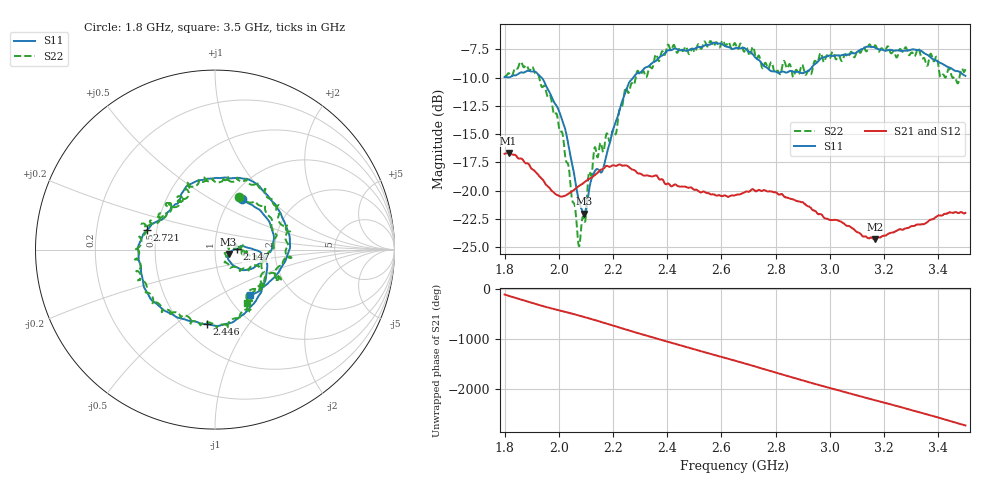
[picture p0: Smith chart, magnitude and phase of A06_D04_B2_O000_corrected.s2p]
! Created with skrf 1.9.0 (http://scikit-rf.org).
# Hz S RI R 50.0
!freq ReS11 ImS11 ReS21 ImS21 ReS12 ImS12 ReS22 ImS22
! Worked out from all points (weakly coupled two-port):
!   1601 points, 1.8 GHz to 3.5 GHz, reference 50 ohm
!   highest |S21| = -16.66 dB at 1.815 GHz (marker M1); lowest = -24.3 dB at 3.165 GHz (marker M2)
!   lowest |S11| = -22.0 dB at 2.093 GHz (marker M3), VSWR 1.17, Z = 58.1 - j2.76 ohm
!   |S11| at or under -10 dB: 1.937 GHz to 2.275 GHz (338 MHz wide, 16.1 % of centre)
!   |S22| runs from -24.9 to -6.7 dB; largest |S21 - S12| = 0.0024
!   S11 on the Smith chart (normalised r, x): 1.8 GHz: 1.12, +0.70; 2.147 GHz: 1.28, +0.01; 2.446 GHz: 0.65, -0.66; 2.721 GHz: 0.44, +0.11; 3.5 GHz: 1.26, -0.72
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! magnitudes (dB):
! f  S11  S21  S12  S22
! 1.8 GHz  -9.9  -16.7  -16.7  -9.8
! 1.815 GHz  -10.0  -16.7  -16.7  -9.6
! 1.903 GHz  -9.5  -18.1  -18.1  -9.1
! 1.968 GHz  -11.4  -19.8  -19.9  -11.6
! 2.014 GHz  -13.8  -20.5  -20.5  -14.9
! 2.072 GHz  -20.7  -19.6  -19.6  -24.7
! 2.084 GHz  -21.6  -19.4  -19.4  -22.9
! 2.093 GHz  -22.0  -19.3  -19.3  -22.5
! 2.113 GHz  -19.7  -18.9  -18.9  -18.3
! 2.147 GHz  -18.2  -18.3  -18.3  -16.5
! 2.209 GHz  -14.0  -17.8  -17.7  -15.0
! 2.259 GHz  -10.4  -17.9  -17.9  -11.3
! 2.367 GHz  -8.3  -18.9  -18.8  -8.5
! 2.446 GHz  -7.6  -19.6  -19.6  -7.3
! 2.65 GHz  -7.4  -20.4  -20.4  -6.9
! 2.721 GHz  -8.1  -20.0  -19.9  -7.6
! 2.802 GHz  -9.5  -20.1  -20.2  -9.5
! 2.934 GHz  -9.1  -21.6  -21.6  -9.5
! 3.165 GHz  -7.3  -24.3  -24.3  -7.2
! 3.217 GHz  -7.6  -23.8  -23.7  -7.4
! 3.468 GHz  -9.4  -21.9  -21.9  -10.4
! 3.5 GHz  -9.8  -22.0  -21.9  -9.2
